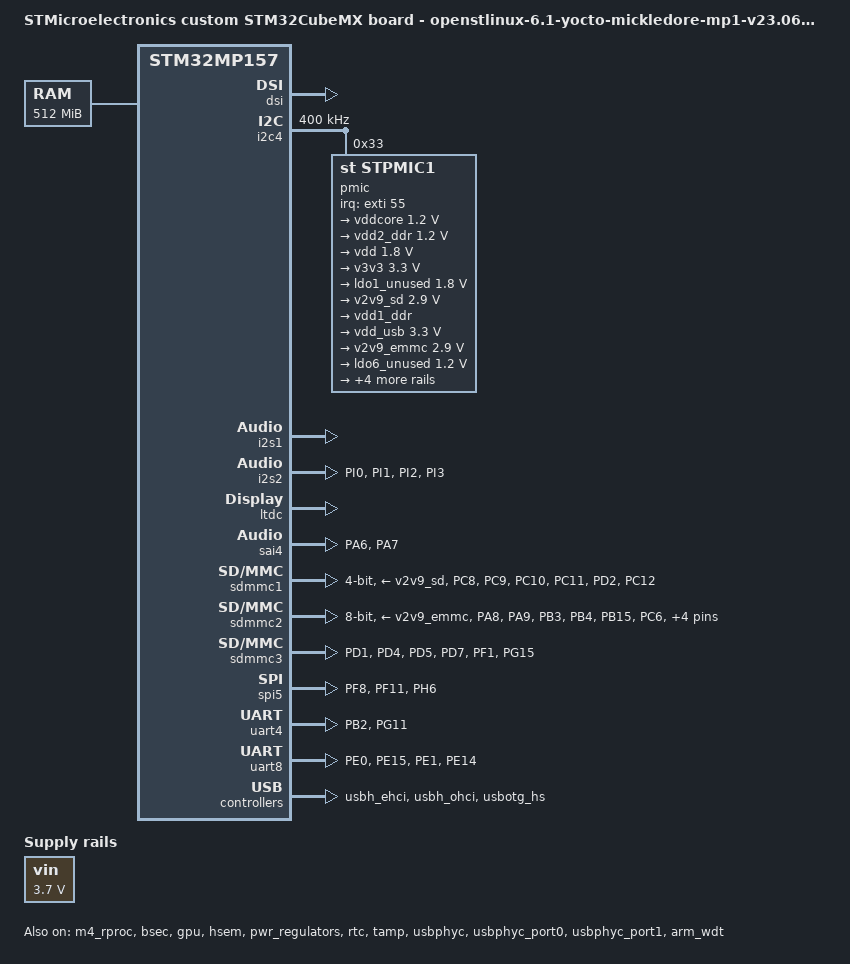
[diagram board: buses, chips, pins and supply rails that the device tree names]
// SPDX-License-Identifier: (GPL-2.0-or-later OR BSD-3-Clause)
/*
 * Copyright (C) 2024, STMicroelectronics - All Rights Reserved
 * Author: STM32CubeMX code generation for STMicroelectronics.
 */

/* For more information on Device Tree configuration, please refer to
 * https://wiki.st.com/stm32mpu/wiki/Category:Device_tree_configuration
 */

/dts-v1/;
#include <dt-bindings/pinctrl/stm32-pinfunc.h>

#include "stm32mp157.dtsi"
#include "stm32mp15xd.dtsi"
#include "stm32mp15xxac-pinctrl.dtsi"
#include "stm32mp15-m4-srm.dtsi"

/* USER CODE BEGIN includes */
#include <dt-bindings/gpio/gpio.h>
#include <dt-bindings/mfd/st,stpmic1.h>
#include "stm32mp157d-zegarson-scmi.dtsi"
/* USER CODE END includes */

/ {
	model = "STMicroelectronics custom STM32CubeMX board - openstlinux-6.1-yocto-mickledore-mp1-v23.06.21";
	compatible = "st,stm32mp157d-zegarson_test-mx", "st,stm32mp157";

	memory@c0000000 {
		device_type = "memory";
		reg = <0xc0000000 0x20000000>;

		/* USER CODE BEGIN memory */
		/* USER CODE END memory */
	};

	reserved-memory {
		#address-cells = <1>;
		#size-cells = <1>;
		ranges;

		/* USER CODE BEGIN reserved-memory */

		gpu_reserved:gpu@d4000000{
			reg = <0xd4000000 0x4000000>;
			no-map;
		};

		/* USER CODE END reserved-memory */
	};

	/* USER CODE BEGIN root */
	vin: vin {
		compatible = "regulator-fixed";
		regulator-name = "vin";
		regulator-min-microvolt = <3700000>;
		regulator-max-microvolt = <3700000>;
		regulator-always-on;
	};

	aliases {
		serial0 = &uart4;
	};

	chosen {
		stdout-path = "serial0:115200n8";
	};
	/* USER CODE END root */

	clocks{

		/* USER CODE BEGIN clocks */
		/* USER CODE END clocks */
	};

}; /*root*/

&pinctrl {

	i2s2_pins_mx: i2s2_mx-0 {
		pins {
			pinmux = <STM32_PINMUX('I', 0, AF5)>, /* I2S2_WS */
					 <STM32_PINMUX('I', 1, AF5)>, /* I2S2_CK */
					 <STM32_PINMUX('I', 2, AF5)>, /* I2S2_SDI */
					 <STM32_PINMUX('I', 3, AF5)>; /* I2S2_SDO */
			bias-disable;
			drive-push-pull;
			slew-rate = <1>;
		};
	};

	i2s2_sleep_pins_mx: i2s2_sleep_mx-0 {
		pins {
			pinmux = <STM32_PINMUX('I', 0, ANALOG)>, /* I2S2_WS */
					 <STM32_PINMUX('I', 1, ANALOG)>, /* I2S2_CK */
					 <STM32_PINMUX('I', 2, ANALOG)>, /* I2S2_SDI */
					 <STM32_PINMUX('I', 3, ANALOG)>; /* I2S2_SDO */
		};
	};

	rtc_pins_mx: rtc_mx-0 {
		pins {
			pinmux = <STM32_PINMUX('I', 8, ANALOG)>; /* RTC_LSCO */
		};
	};

	rtc_sleep_pins_mx: rtc_sleep_mx-0 {
		pins {
			pinmux = <STM32_PINMUX('I', 8, ANALOG)>; /* RTC_LSCO */
		};
	};

	sai4_pins_mx: sai4_mx-0 {
		pins {
			pinmux = <STM32_PINMUX('A', 6, AF4)>, /* SAI4_CK2 */
					 <STM32_PINMUX('A', 7, AF4)>; /* SAI4_D1 */
			bias-disable;
			drive-push-pull;
			slew-rate = <0>;
		};
	};

	sai4_sleep_pins_mx: sai4_sleep_mx-0 {
		pins {
			pinmux = <STM32_PINMUX('A', 6, ANALOG)>, /* SAI4_CK2 */
					 <STM32_PINMUX('A', 7, ANALOG)>; /* SAI4_D1 */
		};
	};

	sdmmc1_pins_mx: sdmmc1_mx-0 {
		pins1 {
			pinmux = <STM32_PINMUX('C', 8, AF12)>, /* SDMMC1_D0 */
					 <STM32_PINMUX('C', 9, AF12)>, /* SDMMC1_D1 */
					 <STM32_PINMUX('C', 10, AF12)>, /* SDMMC1_D2 */
					 <STM32_PINMUX('C', 11, AF12)>, /* SDMMC1_D3 */
					 <STM32_PINMUX('D', 2, AF12)>; /* SDMMC1_CMD */
			bias-pull-up;
			drive-push-pull;
			slew-rate = <1>;
		};
		pins2 {
			pinmux = <STM32_PINMUX('C', 12, AF12)>; /* SDMMC1_CK */
			bias-disable;
			drive-push-pull;
			slew-rate = <3>;
		};
	};

	sdmmc1_opendrain_pins_mx: sdmmc1_opendrain_mx-0 {
		pins1 {
			pinmux = <STM32_PINMUX('C', 8, AF12)>, /* SDMMC1_D0 */
					 <STM32_PINMUX('C', 9, AF12)>, /* SDMMC1_D1 */
					 <STM32_PINMUX('C', 10, AF12)>, /* SDMMC1_D2 */
					 <STM32_PINMUX('C', 11, AF12)>; /* SDMMC1_D3 */
			bias-pull-up;
			drive-push-pull;
			slew-rate = <1>;
		};
		pins2 {
			pinmux = <STM32_PINMUX('C', 12, AF12)>; /* SDMMC1_CK */
			bias-disable;
			drive-push-pull;
			slew-rate = <3>;
		};
		pins3 {
			pinmux = <STM32_PINMUX('D', 2, AF12)>; /* SDMMC1_CMD */
			bias-pull-up;
			drive-open-drain;
			slew-rate = <1>;
		};
	};

	sdmmc1_sleep_pins_mx: sdmmc1_sleep_mx-0 {
		pins {
			pinmux = <STM32_PINMUX('C', 8, ANALOG)>, /* SDMMC1_D0 */
					 <STM32_PINMUX('C', 9, ANALOG)>, /* SDMMC1_D1 */
					 <STM32_PINMUX('C', 10, ANALOG)>, /* SDMMC1_D2 */
					 <STM32_PINMUX('C', 11, ANALOG)>, /* SDMMC1_D3 */
					 <STM32_PINMUX('C', 12, ANALOG)>, /* SDMMC1_CK */
					 <STM32_PINMUX('D', 2, ANALOG)>; /* SDMMC1_CMD */
		};
	};

	sdmmc2_pins_mx: sdmmc2_mx-0 {
		pins1 {
			pinmux = <STM32_PINMUX('A', 8, AF9)>, /* SDMMC2_D4 */
					 <STM32_PINMUX('A', 9, AF10)>, /* SDMMC2_D5 */
					 <STM32_PINMUX('B', 3, AF9)>, /* SDMMC2_D2 */
					 <STM32_PINMUX('B', 4, AF9)>, /* SDMMC2_D3 */
					 <STM32_PINMUX('B', 15, AF9)>, /* SDMMC2_D1 */
					 <STM32_PINMUX('C', 6, AF10)>, /* SDMMC2_D6 */
					 <STM32_PINMUX('C', 7, AF10)>; /* SDMMC2_D7 */
			bias-pull-up;
			drive-push-pull;
			slew-rate = <1>;
		};
		pins2 {
			pinmux = <STM32_PINMUX('B', 14, AF9)>, /* SDMMC2_D0 */
					 <STM32_PINMUX('G', 6, AF10)>; /* SDMMC2_CMD */
			bias-disable;
			drive-push-pull;
			slew-rate = <1>;
		};
		pins3 {
			pinmux = <STM32_PINMUX('E', 3, AF9)>; /* SDMMC2_CK */
			bias-disable;
			drive-push-pull;
			slew-rate = <3>;
		};
	};

	sdmmc2_opendrain_pins_mx: sdmmc2_opendrain_mx-0 {
		pins1 {
			pinmux = <STM32_PINMUX('A', 8, AF9)>, /* SDMMC2_D4 */
					 <STM32_PINMUX('A', 9, AF10)>, /* SDMMC2_D5 */
					 <STM32_PINMUX('B', 3, AF9)>, /* SDMMC2_D2 */
					 <STM32_PINMUX('B', 4, AF9)>, /* SDMMC2_D3 */
					 <STM32_PINMUX('B', 15, AF9)>, /* SDMMC2_D1 */
					 <STM32_PINMUX('C', 6, AF10)>, /* SDMMC2_D6 */
					 <STM32_PINMUX('C', 7, AF10)>; /* SDMMC2_D7 */
			bias-pull-up;
			drive-push-pull;
			slew-rate = <1>;
		};
		pins2 {
			pinmux = <STM32_PINMUX('B', 14, AF9)>; /* SDMMC2_D0 */
			bias-disable;
			drive-push-pull;
			slew-rate = <1>;
		};
		pins3 {
			pinmux = <STM32_PINMUX('E', 3, AF9)>; /* SDMMC2_CK */
			bias-disable;
			drive-push-pull;
			slew-rate = <3>;
		};
		pins4 {
			pinmux = <STM32_PINMUX('G', 6, AF10)>; /* SDMMC2_CMD */
			bias-disable;
			drive-open-drain;
			slew-rate = <1>;
		};
	};

	sdmmc2_sleep_pins_mx: sdmmc2_sleep_mx-0 {
		pins {
			pinmux = <STM32_PINMUX('A', 8, ANALOG)>, /* SDMMC2_D4 */
					 <STM32_PINMUX('A', 9, ANALOG)>, /* SDMMC2_D5 */
					 <STM32_PINMUX('B', 3, ANALOG)>, /* SDMMC2_D2 */
					 <STM32_PINMUX('B', 4, ANALOG)>, /* SDMMC2_D3 */
					 <STM32_PINMUX('B', 14, ANALOG)>, /* SDMMC2_D0 */
					 <STM32_PINMUX('B', 15, ANALOG)>, /* SDMMC2_D1 */
					 <STM32_PINMUX('C', 6, ANALOG)>, /* SDMMC2_D6 */
					 <STM32_PINMUX('C', 7, ANALOG)>, /* SDMMC2_D7 */
					 <STM32_PINMUX('E', 3, ANALOG)>, /* SDMMC2_CK */
					 <STM32_PINMUX('G', 6, ANALOG)>; /* SDMMC2_CMD */
		};
	};

	sdmmc3_pins_mx: sdmmc3_mx-0 {
		pins1 {
			pinmux = <STM32_PINMUX('D', 1, AF10)>, /* SDMMC3_D0 */
					 <STM32_PINMUX('D', 4, AF10)>, /* SDMMC3_D1 */
					 <STM32_PINMUX('D', 5, AF10)>, /* SDMMC3_D2 */
					 <STM32_PINMUX('D', 7, AF10)>, /* SDMMC3_D3 */
					 <STM32_PINMUX('F', 1, AF9)>; /* SDMMC3_CMD */
			bias-disable;
			drive-push-pull;
			slew-rate = <1>;
		};
		pins2 {
			pinmux = <STM32_PINMUX('G', 15, AF10)>; /* SDMMC3_CK */
			bias-disable;
			drive-push-pull;
			slew-rate = <3>;
		};
	};

	sdmmc3_opendrain_pins_mx: sdmmc3_opendrain_mx-0 {
		pins1 {
			pinmux = <STM32_PINMUX('D', 1, AF10)>, /* SDMMC3_D0 */
					 <STM32_PINMUX('D', 4, AF10)>, /* SDMMC3_D1 */
					 <STM32_PINMUX('D', 5, AF10)>, /* SDMMC3_D2 */
					 <STM32_PINMUX('D', 7, AF10)>; /* SDMMC3_D3 */
			bias-disable;
			drive-push-pull;
			slew-rate = <1>;
		};
		pins2 {
			pinmux = <STM32_PINMUX('F', 1, AF9)>; /* SDMMC3_CMD */
			bias-disable;
			drive-open-drain;
			slew-rate = <1>;
		};
		pins3 {
			pinmux = <STM32_PINMUX('G', 15, AF10)>; /* SDMMC3_CK */
			bias-disable;
			drive-push-pull;
			slew-rate = <3>;
		};
	};

	sdmmc3_sleep_pins_mx: sdmmc3_sleep_mx-0 {
		pins {
			pinmux = <STM32_PINMUX('D', 1, ANALOG)>, /* SDMMC3_D0 */
					 <STM32_PINMUX('D', 4, ANALOG)>, /* SDMMC3_D1 */
					 <STM32_PINMUX('D', 5, ANALOG)>, /* SDMMC3_D2 */
					 <STM32_PINMUX('D', 7, ANALOG)>, /* SDMMC3_D3 */
					 <STM32_PINMUX('F', 1, ANALOG)>, /* SDMMC3_CMD */
					 <STM32_PINMUX('G', 15, ANALOG)>; /* SDMMC3_CK */
		};
	};

	spi5_pins_mx: spi5_mx-0 {
		pins {
			pinmux = <STM32_PINMUX('F', 8, AF5)>, /* SPI5_MISO */
					 <STM32_PINMUX('F', 11, AF5)>, /* SPI5_MOSI */
					 <STM32_PINMUX('H', 6, AF5)>; /* SPI5_SCK */
			bias-disable;
			drive-push-pull;
			slew-rate = <1>;
		};
	};

	spi5_sleep_pins_mx: spi5_sleep_mx-0 {
		pins {
			pinmux = <STM32_PINMUX('F', 8, ANALOG)>, /* SPI5_MISO */
					 <STM32_PINMUX('F', 11, ANALOG)>, /* SPI5_MOSI */
					 <STM32_PINMUX('H', 6, ANALOG)>; /* SPI5_SCK */
		};
	};

	uart4_pins_mx: uart4_mx-0 {
		pins1 {
			pinmux = <STM32_PINMUX('B', 2, AF8)>; /* UART4_RX */
			bias-disable;
		};
		pins2 {
			pinmux = <STM32_PINMUX('G', 11, AF6)>; /* UART4_TX */
			bias-disable;
			drive-push-pull;
			slew-rate = <0>;
		};
	};

	uart4_idle_pins_mx: uart4_idle_mx-0 {
		pins1 {
			pinmux = <STM32_PINMUX('B', 2, AF8)>; /* UART4_RX */
			bias-disable;
		};
		pins2 {
			pinmux = <STM32_PINMUX('G', 11, ANALOG)>; /* UART4_TX */
		};
	};

	uart4_sleep_pins_mx: uart4_sleep_mx-0 {
		pins {
			pinmux = <STM32_PINMUX('B', 2, ANALOG)>, /* UART4_RX */
					 <STM32_PINMUX('G', 11, ANALOG)>; /* UART4_TX */
		};
	};

	uart8_pins_mx: uart8_mx-0 {
		pins1 {
			pinmux = <STM32_PINMUX('E', 0, AF8)>, /* UART8_RX */
					 <STM32_PINMUX('E', 15, AF8)>; /* UART8_CTS */
			bias-disable;
		};
		pins2 {
			pinmux = <STM32_PINMUX('E', 1, AF8)>, /* UART8_TX */
					 <STM32_PINMUX('E', 14, AF8)>; /* UART8_RTS */
			bias-disable;
			drive-push-pull;
			slew-rate = <0>;
		};
	};

	uart8_idle_pins_mx: uart8_idle_mx-0 {
		pins1 {
			pinmux = <STM32_PINMUX('E', 0, AF8)>; /* UART8_RX */
			bias-disable;
		};
		pins2 {
			pinmux = <STM32_PINMUX('E', 1, ANALOG)>, /* UART8_TX */
					 <STM32_PINMUX('E', 15, ANALOG)>; /* UART8_CTS */
		};
		pins3 {
			pinmux = <STM32_PINMUX('E', 14, AF8)>; /* UART8_RTS */
			bias-disable;
			drive-push-pull;
			slew-rate = <0>;
		};
	};

	uart8_sleep_pins_mx: uart8_sleep_mx-0 {
		pins {
			pinmux = <STM32_PINMUX('E', 0, ANALOG)>, /* UART8_RX */
					 <STM32_PINMUX('E', 1, ANALOG)>, /* UART8_TX */
					 <STM32_PINMUX('E', 14, ANALOG)>, /* UART8_RTS */
					 <STM32_PINMUX('E', 15, ANALOG)>; /* UART8_CTS */
		};
	};

	/* USER CODE BEGIN pinctrl */
	/* USER CODE END pinctrl */
};

&pinctrl_z {

	i2c4_pins_z_mx: i2c4_mx-0 {
		pins {
			pinmux = <STM32_PINMUX('Z', 4, AF6)>, /* I2C4_SCL */
					 <STM32_PINMUX('Z', 5, AF6)>; /* I2C4_SDA */
			bias-disable;
			drive-open-drain;
			slew-rate = <0>;
		};
	};

	i2c4_sleep_pins_z_mx: i2c4_sleep_mx-0 {
		pins {
			pinmux = <STM32_PINMUX('Z', 4, ANALOG)>, /* I2C4_SCL */
					 <STM32_PINMUX('Z', 5, ANALOG)>; /* I2C4_SDA */
		};
	};

	i2s1_pins_z_mx: i2s1_mx-0 {
		pins {
			pinmux = <STM32_PINMUX('Z', 0, AF5)>, /* I2S1_CK */
					 <STM32_PINMUX('Z', 2, AF5)>, /* I2S1_SDO */
					 <STM32_PINMUX('Z', 3, AF5)>; /* I2S1_WS */
			bias-disable;
			drive-push-pull;
			slew-rate = <1>;
		};
	};

	i2s1_sleep_pins_z_mx: i2s1_sleep_mx-0 {
		pins {
			pinmux = <STM32_PINMUX('Z', 0, ANALOG)>, /* I2S1_CK */
					 <STM32_PINMUX('Z', 2, ANALOG)>, /* I2S1_SDO */
					 <STM32_PINMUX('Z', 3, ANALOG)>; /* I2S1_WS */
		};
	};

	/* USER CODE BEGIN pinctrl_z */
	/* USER CODE END pinctrl_z */
};

&m4_rproc{
	status = "okay";

	/* USER CODE BEGIN m4_rproc */
	/* USER CODE END m4_rproc */

	m4_system_resources{
		status = "okay";

		/* USER CODE BEGIN m4_system_resources */
		/* USER CODE END m4_system_resources */
	};
};

&bsec{
	status = "okay";

	/* USER CODE BEGIN bsec */
	/* USER CODE END bsec */
};

&dma1{
	status = "okay";

	/* USER CODE BEGIN dma1 */
	/* USER CODE END dma1 */
};

&dma2{
	status = "disabled";

	/* USER CODE BEGIN dma2 */
	/* USER CODE END dma2 */
};

&dmamux1{
	status = "okay";

	dma-masters = <&dma1>;
	dma-channels = <8>;

	/* USER CODE BEGIN dmamux1 */
	/* USER CODE END dmamux1 */
};

&dsi{
	status = "okay";

	/* USER CODE BEGIN dsi */
	/* USER CODE END dsi */
};

&gpu{
	status = "okay";

	/* USER CODE BEGIN gpu */
	contiguous-area = <&gpu_reserved>;
	/* USER CODE END gpu */
};

&hsem{
	status = "okay";

	/* USER CODE BEGIN hsem */
	/* USER CODE END hsem */
};

&i2c4{
	pinctrl-names = "default", "sleep";
	pinctrl-0 = <&i2c4_pins_z_mx>;
	pinctrl-1 = <&i2c4_sleep_pins_z_mx>;
	status = "okay";
	
	/* USER CODE BEGIN i2c4 */
	i2c-scl-rising-time-ns = <185>;	
	i2c-scl-falling-time-ns = <20>;
	clock-frequency = <400000>;
	/delete-property/ dmas;
	/delete-property/ dma-names;

	pmic: stpmic@33 {
		compatible = "st,stpmic1";
		reg = <0x33>;
		interrupts-extended = <&exti 55 IRQ_TYPE_EDGE_FALLING>;
		interrupt-controller;
		#interrupt-cells = <2>;
		status = "okay";

		regulators {
			compatible = "st,stpmic1-regulators";
			buck1-supply = <&vin>;
			buck2-supply = <&vin>;
			buck3-supply = <&vin>;
			buck4-supply = <&vin>;
			ldo1-supply = <&v3v3>;
			ldo2-supply = <&v3v3>;
			ldo3-supply = <&vdd>;
			ldo4-supply = <&vin>;
			ldo5-supply = <&v3v3>;
			ldo6-supply = <&v3v3>;
			vref_ddr-supply = <&vin>;
			boost-supply = <&vin>;
			pwr_sw1-supply = <&bst_out>;
			pwr_sw2-supply = <&bst_out>;


			vddcore: buck1 {
				regulator-name = "vddcore";
				regulator-min-microvolt = <1200000>;
				regulator-max-microvolt = <1200000>;
				regulator-always-on;
				regulator-initial-mode = <0>;
				regulator-over-current-protection;
			};


			vdd2_ddr: buck2 {
				regulator-name = "vdd2_ddr";
				regulator-min-microvolt = <1200000>;
				regulator-max-microvolt = <1200000>;
				regulator-always-on;
				regulator-initial-mode = <0>;
				regulator-over-current-protection;
			};


			vdd: buck3 {
				regulator-name = "vdd";
				regulator-min-microvolt = <1800000>;
				regulator-max-microvolt = <1800000>;
				regulator-always-on;
				st,mask-reset;
				regulator-initial-mode = <0>;
				regulator-over-current-protection;
			};


			v3v3: buck4 {
				regulator-name = "v3v3";
				regulator-min-microvolt = <3300000>;
				regulator-max-microvolt = <3300000>;
				regulator-always-on;
				regulator-over-current-protection;
				regulator-initial-mode = <0>;
			};


			ldo1_unused: ldo1 {
				regulator-name = "ldo1_unused";
				regulator-min-microvolt = <1800000>;
				regulator-max-microvolt = <1800000>;
				regulator-always-on;
			};


			v2v9_sd: ldo2 {
				regulator-name = "v2v9_sd";
				regulator-min-microvolt = <2900000>;
				regulator-max-microvolt = <2900000>;
				regulator-always-on;
			};


			vdd1_ddr: ldo3 {
				regulator-name = "vdd1_ddr";
				regulator-always-on;
				regulator-over-current-protection;
				st,regulator-bypass;
			};


			vdd_usb: ldo4 {
				regulator-name = "vdd_usb";
				regulator-min-microvolt = <3300000>;
				regulator-max-microvolt = <3300000>;
			};


			v2v9_emmc: ldo5 {
				regulator-name = "v2v9_emmc";
				regulator-min-microvolt = <2900000>;
				regulator-max-microvolt = <2900000>;
				regulator-always-on;
			};


			ldo6_unused: ldo6 {
				regulator-name = "ldo6_unused";
				regulator-min-microvolt = <1200000>;
				regulator-max-microvolt = <1200000>;
				regulator-always-on;
			};


			vref_ddr: vref_ddr {
				regulator-name = "vref_ddr";
				regulator-always-on;
			};


			bst_out: boost {
				regulator-name = "bst_out";
			};


			vbus_otg: pwr_sw1 {
				regulator-name = "vbus_otg";
			};


			vbus_sw: pwr_sw2 {
				regulator-name = "vbus_sw";
				regulator-active-discharge = <1>;
			};
		};
	};
	/* USER CODE END i2c4 */
};

&i2s1{
	pinctrl-names = "default", "sleep";
	pinctrl-0 = <&i2s1_pins_z_mx>;
	pinctrl-1 = <&i2s1_sleep_pins_z_mx>;
	status = "okay";

	/* USER CODE BEGIN i2s1 */
	/* USER CODE END i2s1 */
};

&i2s2{
	pinctrl-names = "default", "sleep";
	pinctrl-0 = <&i2s2_pins_mx>;
	pinctrl-1 = <&i2s2_sleep_pins_mx>;
	status = "okay";

	/* USER CODE BEGIN i2s2 */
	/* USER CODE END i2s2 */
};

&ltdc{
	status = "okay";

	/* USER CODE BEGIN ltdc */
	/* USER CODE END ltdc */
};

&m4_dma2{
	status = "okay";

	/* USER CODE BEGIN m4_dma2 */
	/* USER CODE END m4_dma2 */
};

&mdma1{
	status = "okay";

	/* USER CODE BEGIN mdma1 */
	/* USER CODE END mdma1 */
};

&pwr_regulators{
	status = "okay";

	/* USER CODE BEGIN pwr_regulators */
	vdd-supply = <&vdd>;
	vdd_3v3_usbfs-supply = <&vdd_usb>;
	/* USER CODE END pwr_regulators */
};

&rcc{
	status = "okay";

	/* USER CODE BEGIN rcc */
	/* USER CODE END rcc */
};

&rtc{
	pinctrl-names = "default", "sleep";
	pinctrl-0 = <&rtc_pins_mx>;
	pinctrl-1 = <&rtc_sleep_pins_mx>;
	status = "okay";

	/* USER CODE BEGIN rtc */
	/* USER CODE END rtc */
};

&sai4{
	pinctrl-names = "default", "sleep";
	pinctrl-0 = <&sai4_pins_mx>;
	pinctrl-1 = <&sai4_sleep_pins_mx>;
	status = "okay";

	/* USER CODE BEGIN sai4 */
	/* USER CODE END sai4 */

	sai4a:audio-controller@50027004{
		status = "okay";

		/* USER CODE BEGIN sai4a */
		/* USER CODE END sai4a */
	};
};

&sdmmc1{
	pinctrl-names = "default", "opendrain", "sleep";
	pinctrl-0 = <&sdmmc1_pins_mx>;
	pinctrl-1 = <&sdmmc1_opendrain_pins_mx>;
	pinctrl-2 = <&sdmmc1_sleep_pins_mx>;
	status = "okay";

	/* USER CODE BEGIN sdmmc1 */
	broken-cd;
	disable-wp;
	st,neg-edge;
	bus-width = <4>;
	vmmc-supply = <&v2v9_sd>;
	/* USER CODE END sdmmc1 */
};

&sdmmc2{
	pinctrl-names = "default", "opendrain", "sleep";
	pinctrl-0 = <&sdmmc2_pins_mx>;
	pinctrl-1 = <&sdmmc2_opendrain_pins_mx>;
	pinctrl-2 = <&sdmmc2_sleep_pins_mx>;
	status = "okay";

	/* USER CODE BEGIN sdmmc2 */
	disable-wp;
	st,neg-edge;
	bus-width = <8>;
	vmmc-supply = <&v2v9_emmc>;
	/* USER CODE END sdmmc2 */
};

&sdmmc3{
	pinctrl-names = "default", "opendrain", "sleep";
	pinctrl-0 = <&sdmmc3_pins_mx>;
	pinctrl-1 = <&sdmmc3_opendrain_pins_mx>;
	pinctrl-2 = <&sdmmc3_sleep_pins_mx>;
	status = "okay";

	/* USER CODE BEGIN sdmmc3 */
	/* USER CODE END sdmmc3 */
};

&spi5{
	pinctrl-names = "default", "sleep";
	pinctrl-0 = <&spi5_pins_mx>;
	pinctrl-1 = <&spi5_sleep_pins_mx>;
	status = "okay";

	/* USER CODE BEGIN spi5 */
	/* USER CODE END spi5 */
};

&tamp{
	status = "okay";

	/* USER CODE BEGIN tamp */
	/* USER CODE END tamp */
};

&uart4{
	pinctrl-names = "default", "idle", "sleep";
	pinctrl-0 = <&uart4_pins_mx>;
	pinctrl-1 = <&uart4_idle_pins_mx>;
	pinctrl-2 = <&uart4_sleep_pins_mx>;
	status = "okay";

	/* USER CODE BEGIN uart4 */
	/delete-property/ dmas;
	/delete-property/ dma-names;
	/* USER CODE END uart4 */
};

&uart8{
	pinctrl-names = "default", "idle", "sleep";
	pinctrl-0 = <&uart8_pins_mx>;
	pinctrl-1 = <&uart8_idle_pins_mx>;
	pinctrl-2 = <&uart8_sleep_pins_mx>;
	status = "okay";

	/* USER CODE BEGIN uart8 */
	/* USER CODE END uart8 */
};

&usbh_ehci{
	status = "okay";

	/* USER CODE BEGIN usbh_ehci */
	/* USER CODE END usbh_ehci */
};

&usbh_ohci{
	status = "okay";

	/* USER CODE BEGIN usbh_ohci */
	/* USER CODE END usbh_ohci */
};

&usbotg_hs{
	status = "okay";

	/* USER CODE BEGIN usbotg_hs */
	/* USER CODE END usbotg_hs */
};

&usbphyc{
	status = "okay";

	/* USER CODE BEGIN usbphyc */
	/* USER CODE END usbphyc */
};

&usbphyc_port0{
	status = "okay";

	/* USER CODE BEGIN usbphyc_port0 */
	/* USER CODE END usbphyc_port0 */
};

&usbphyc_port1{
	status = "okay";

	/* USER CODE BEGIN usbphyc_port1 */
	/* USER CODE END usbphyc_port1 */
};

/* USER CODE BEGIN addons */
&arm_wdt{
	timeout-sec = <32>;
	status = "okay";
};

&cpu0{
	cpu-supply = <&vddcore>;
};

&cpu1{
	cpu-supply = <&vddcore>;
};
/* USER CODE END addons */

